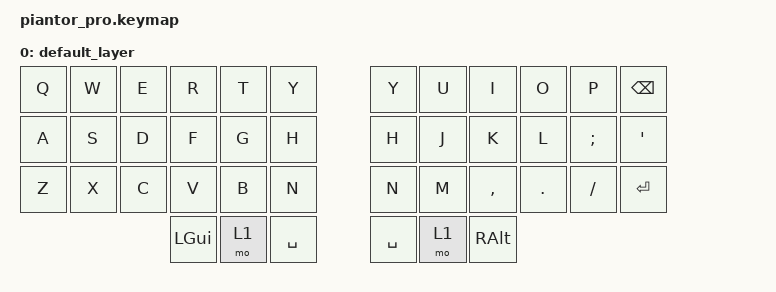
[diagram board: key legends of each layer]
#include <behaviors.dtsi>
#include <dt-bindings/zmk/keys.h>

/ {
    keymap {
        compatible = "zmk,keymap";

        default_layer {
            bindings = <
                &kp Q  &kp W  &kp E  &kp R  &kp T  &kp Y    &kp Y  &kp U  &kp I     &kp O    &kp P     &kp BSPC
                &kp A  &kp S  &kp D  &kp F  &kp G  &kp H    &kp H  &kp J  &kp K     &kp L    &kp SEMI  &kp SQT
                &kp Z  &kp X  &kp C  &kp V  &kp B  &kp N    &kp N  &kp M  &kp COMMA &kp DOT  &kp SLASH &kp RET
                                     &kp LGUI &mo 1 &kp SPACE   &kp SPACE &mo 1 &kp RALT
            >;
        };
    };
};
